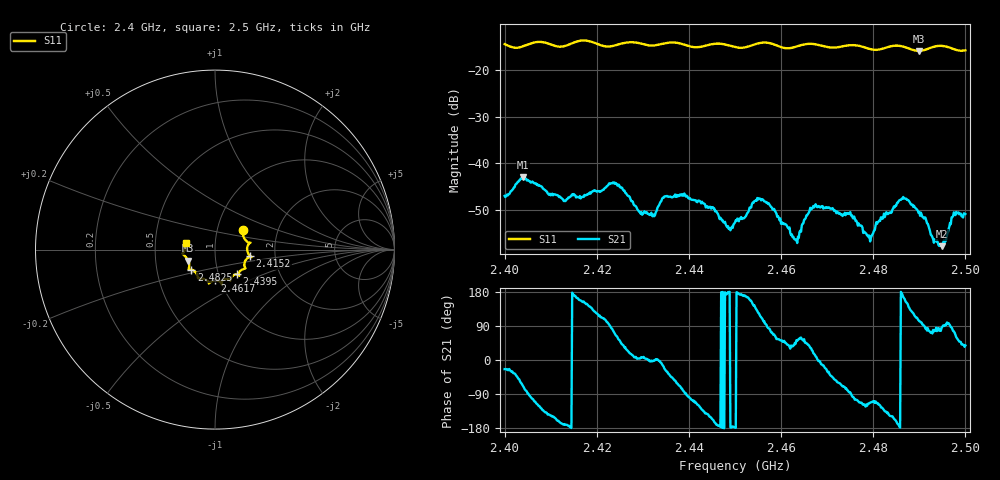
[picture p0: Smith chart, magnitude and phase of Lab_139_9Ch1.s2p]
# Hz S RI R 50
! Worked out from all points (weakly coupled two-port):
!   601 points, 2.4 GHz to 2.5 GHz, reference 50 ohm
!   highest |S21| = -42.94 dB at 2.404 GHz (marker M1); lowest = -57.8 dB at 2.4948 GHz (marker M2)
!   lowest |S11| = -15.9 dB at 2.49 GHz (marker M3), VSWR 1.38, Z = 36.8 - j4.7 ohm
!   |S11| at or under -10 dB: start of sweep to end of sweep
!   S12 and S22 are empty: the file has one direction only
!   S11 on the Smith chart (normalised r, x): 2.4 GHz: 1.33, +0.30; 2.4152 GHz: 1.48, -0.11; 2.4395 GHz: 1.22, -0.35; 2.4617 GHz: 0.94, -0.33; 2.4825 GHz: 0.75, -0.17; 2.5 GHz: 0.72, +0.05
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2.4e9  0.1556 0.1097  0.00409 -0.00183  0 0  0 0
2.404e9  0.1739 0.0487  0.00258 -0.00664  0 0  0 0
2.415167e9  0.1959 -0.0364  -0.00452 0.00087  0 0  0 0
2.416667e9  0.2039 -0.0419  -0.00394 0.00177  0 0  0 0
2.423667e9  0.1635 -0.0826  0.00167 0.00588  0 0  0 0
2.4295e9  0.1614 -0.1072  0.00288 0.000246  0 0  0 0
2.433333e9  0.1328 -0.1328  0.00346 -2.07e-05  0 0  0 0
2.4395e9  0.1226 -0.1377  -0.000207 -0.0045  0 0  0 0
2.45e9  0.0667 -0.1644  -0.00232 -7.78e-05  0 0  0 0
2.455333e9  0.0364 -0.1922  -0.00207 0.00367  0 0  0 0
2.461667e9  0.000966 -0.172  0.00157 0.00125  0 0  0 0
2.463333e9  -0.0208 -0.1785  0.000931 0.0012  0 0  0 0
2.466667e9  -0.0338 -0.1888  0.00292 0.00144  0 0  0 0
2.474833e9  -0.0908 -0.1615  0.000235 -0.00289  0 0  0 0
2.479167e9  -0.1024 -0.1351  -0.000679 -0.00154  0 0  0 0
2.4825e9  -0.1325 -0.1112  -0.00187 -0.00188  0 0  0 0
2.483333e9  -0.1397 -0.1104  -0.00233 -0.00174  0 0  0 0
2.486667e9  -0.1453 -0.1034  -0.00403 0.00122  0 0  0 0
2.49e9  -0.1486 -0.0622  -0.000636 0.00292  0 0  0 0
2.494833e9  -0.1812 -0.0215  0.000114 0.00129  0 0  0 0
2.4975e9  -0.1682 -0.00432  0.000749 0.00289  0 0  0 0
2.5e9  -0.1598 0.0354  0.00225 0.00177  0 0  0 0
